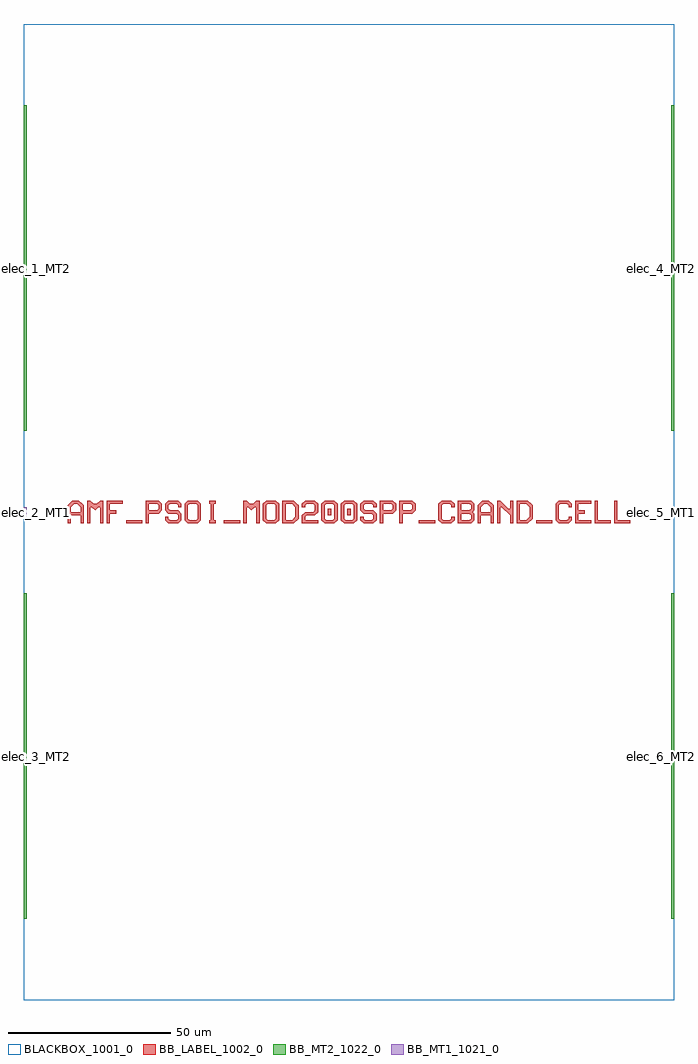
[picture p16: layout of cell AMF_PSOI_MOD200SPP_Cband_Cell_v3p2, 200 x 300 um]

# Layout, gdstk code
import gdstk
lib = gdstk.Library(unit=1e-6, precision=1e-09)
def R(c, l, rs):  # rectangles x0, y0, x1, y1
    for r in rs: c.add(gdstk.rectangle(r[:2], r[2:], *l))
def P(c, l, *ps):  # polygons
    for p in ps: c.add(gdstk.Polygon(p, *l))
BLACKBOX_1001_0 = (1001, 0)
BB_LABEL_1002_0 = (1002, 0)
BB_MT1_1021_0 = (1021, 0)
BB_MT2_1022_0 = (1022, 0)

amf_psoi_mod200spp_cband = lib.new_cell('AMF_PSOI_MOD200SPP_Cband_Cell_v3p2')
R(amf_psoi_mod200spp_cband, BLACKBOX_1001_0, [(0,-150,200,150)])
R(amf_psoi_mod200spp_cband, BB_LABEL_1002_0, [(31.5,-3.5,36.5,-2.5), (61.5,-3.5,66.5,-2.5), (121.5,-3.5,126.5,-2.5), (157.5,-3.5,162.5,-2.5), (93.5,-1,94.5,1), (99.5,-1,100.5,1)])
P(amf_psoi_mod200spp_cband, BB_LABEL_1002_0, [(13.5,-3.5),(13.5,2),(15,3.5),(17,3.5),(18,2.5),(15.5,2.5),(14.5,1.5),(14.5,0),(17.5,0),(17.5,1.5),(16.5,2.5),(18,2.5),(18.5,2),(18.5,-3.5),(17.5,-3.5),(17.5,-1),(14.5,-1),(14.5,-3.5)],
  [(19.5,-3.5),(19.5,3.5),(20.5,3.5),(21.5,2.5),(22.5,2.5),(23.5,3.5),(24.5,3.5),(24.5,-3.5),(23.5,-3.5),(23.5,1.5),(23,1.5),(22,0.5),(21,1.5),(20.5,1.5),(20.5,-3.5)],
  [(25.5,-3.5),(25.5,3.5),(30.5,3.5),(30.5,2.5),(26.5,2.5),(26.5,0.5),(28.5,0.5),(28.5,-0.5),(26.5,-0.5),(26.5,-3.5)],
  [(37.5,-3.5),(37.5,3.5),(41.5,3.5),(42.5,2.5),(42.5,0.5),(41.5,-0.5),(38.5,-0.5),(38.5,0.5),(41,0.5),(41.5,1),(41.5,2),(41,2.5),(38.5,2.5),(38.5,-3.5)],
  [(44.5,-3.5),(43.5,-2.5),(43.5,-1.5),(44.5,-1.5),(44.5,-2),(45,-2.5),(47,-2.5),(47.5,-2),(47.5,-1),(47,-0.5),(44.5,-0.5),(43.5,0.5),(43.5,2.5),(44.5,3.5),(47.5,3.5),(48.5,2.5),(48.5,1.5),(47.5,1.5),(47.5,2),(47,2.5),(45,2.5),(44.5,2),(44.5,1),(45,0.5),(47.5,0.5),(48.5,-0.5),(48.5,-2.5),(47.5,-3.5)],
  [(50.5,-3.5),(49.5,-2.5),(49.5,2.5),(50.5,3.5),(53.5,3.5),(54.5,2.5),(54.5,0),(53.5,0),(53.5,2),(53,2.5),(51,2.5),(50.5,2),(50.5,-2),(51,-2.5),(53,-2.5),(53.5,-2),(53.5,0),(54.5,0),(54.5,-2.5),(53.5,-3.5)],
  [(57,-3.5),(57,-2.5),(57.5,-2.5),(57.5,2.5),(57,2.5),(57,3.5),(59,3.5),(59,2.5),(58.5,2.5),(58.5,-2.5),(59,-2.5),(59,-3.5)],
  [(67.5,-3.5),(67.5,3.5),(68.5,3.5),(69.5,2.5),(70.5,2.5),(71.5,3.5),(72.5,3.5),(72.5,-3.5),(71.5,-3.5),(71.5,1.5),(71,1.5),(70,0.5),(69,1.5),(68.5,1.5),(68.5,-3.5)],
  [(74.5,-3.5),(73.5,-2.5),(73.5,2.5),(74.5,3.5),(77.5,3.5),(78.5,2.5),(78.5,0),(77.5,0),(77.5,2),(77,2.5),(75,2.5),(74.5,2),(74.5,-2),(75,-2.5),(77,-2.5),(77.5,-2),(77.5,0),(78.5,0),(78.5,-2.5),(77.5,-3.5)],
  [(79.5,-3.5),(79.5,3.5),(83,3.5),(84,2.5),(80.5,2.5),(80.5,-2.5),(82.5,-2.5),(83.5,-1.5),(83.5,1.5),(82.5,2.5),(84,2.5),(84.5,2),(84.5,-2),(83,-3.5)],
  [(85.5,-3.5),(85.5,-1),(86.5,0),(89,0),(89.5,0.5),(89.5,2),(89,2.5),(87,2.5),(86.5,2),(86.5,1.5),(85.5,1.5),(85.5,2.5),(86.5,3.5),(89.5,3.5),(90.5,2.5),(90.5,0),(89.5,-1),(87,-1),(86.5,-1.5),(86.5,-2.5),(90.5,-2.5),(90.5,-3.5)],
  [(92.5,-3.5),(91.5,-2.5),(91.5,2.5),(92.5,3.5),(95.5,3.5),(96.5,2.5),(93,2.5),(92.5,2),(92.5,-2),(93,-2.5),(95,-2.5),(95.5,-2),(95.5,2),(95,2.5),(96.5,2.5),(96.5,-2.5),(95.5,-3.5)],
  [(98.5,-3.5),(97.5,-2.5),(97.5,2.5),(98.5,3.5),(101.5,3.5),(102.5,2.5),(99,2.5),(98.5,2),(98.5,-2),(99,-2.5),(101,-2.5),(101.5,-2),(101.5,2),(101,2.5),(102.5,2.5),(102.5,-2.5),(101.5,-3.5)],
  [(104.5,-3.5),(103.5,-2.5),(103.5,-1.5),(104.5,-1.5),(104.5,-2),(105,-2.5),(107,-2.5),(107.5,-2),(107.5,-1),(107,-0.5),(104.5,-0.5),(103.5,0.5),(103.5,2.5),(104.5,3.5),(107.5,3.5),(108.5,2.5),(108.5,1.5),(107.5,1.5),(107.5,2),(107,2.5),(105,2.5),(104.5,2),(104.5,1),(105,0.5),(107.5,0.5),(108.5,-0.5),(108.5,-2.5),(107.5,-3.5)],
  [(109.5,-3.5),(109.5,3.5),(113.5,3.5),(114.5,2.5),(114.5,0.5),(113.5,-0.5),(110.5,-0.5),(110.5,0.5),(113,0.5),(113.5,1),(113.5,2),(113,2.5),(110.5,2.5),(110.5,-3.5)],
  [(115.5,-3.5),(115.5,3.5),(119.5,3.5),(120.5,2.5),(120.5,0.5),(119.5,-0.5),(116.5,-0.5),(116.5,0.5),(119,0.5),(119.5,1),(119.5,2),(119,2.5),(116.5,2.5),(116.5,-3.5)],
  [(128.5,-3.5),(127.5,-2.5),(127.5,2.5),(128.5,3.5),(131.5,3.5),(132.5,2.5),(132.5,1.5),(131.5,1.5),(131.5,2),(131,2.5),(129,2.5),(128.5,2),(128.5,-2),(129,-2.5),(131,-2.5),(131.5,-2),(131.5,-1.5),(132.5,-1.5),(132.5,-2.5),(131.5,-3.5)],
  [(133.5,-3.5),(133.5,3.5),(137.5,3.5),(138.5,2.5),(134.5,2.5),(134.5,0.5),(137,0.5),(137.5,1),(137.5,2),(137,2.5),(138.5,2.5),(138.5,0.5),(138,0),(138.5,-0.5),(134.5,-0.5),(134.5,-2.5),(137,-2.5),(137.5,-2),(137.5,-1),(137,-0.5),(138.5,-0.5),(138.5,-2.5),(137.5,-3.5)],
  [(139.5,-3.5),(139.5,2),(141,3.5),(143,3.5),(144,2.5),(141.5,2.5),(140.5,1.5),(140.5,0),(143.5,0),(143.5,1.5),(142.5,2.5),(144,2.5),(144.5,2),(144.5,-3.5),(143.5,-3.5),(143.5,-1),(140.5,-1),(140.5,-3.5)],
  [(145.5,-3.5),(145.5,3.5),(146.5,3.5),(149,1),(149.5,1),(149.5,3.5),(150.5,3.5),(150.5,-3.5),(149.5,-3.5),(149.5,-1),(147,1.5),(146.5,1.5),(146.5,-3.5)],
  [(151.5,-3.5),(151.5,3.5),(155,3.5),(156,2.5),(152.5,2.5),(152.5,-2.5),(154.5,-2.5),(155.5,-1.5),(155.5,1.5),(154.5,2.5),(156,2.5),(156.5,2),(156.5,-2),(155,-3.5)],
  [(164.5,-3.5),(163.5,-2.5),(163.5,2.5),(164.5,3.5),(167.5,3.5),(168.5,2.5),(168.5,1.5),(167.5,1.5),(167.5,2),(167,2.5),(165,2.5),(164.5,2),(164.5,-2),(165,-2.5),(167,-2.5),(167.5,-2),(167.5,-1.5),(168.5,-1.5),(168.5,-2.5),(167.5,-3.5)],
  [(169.5,-3.5),(169.5,3.5),(174.5,3.5),(174.5,2.5),(170.5,2.5),(170.5,0.5),(172.5,0.5),(172.5,-0.5),(170.5,-0.5),(170.5,-2.5),(174.5,-2.5),(174.5,-3.5)],
  [(175.5,-3.5),(175.5,3.5),(176.5,3.5),(176.5,-2.5),(180.5,-2.5),(180.5,-3.5)],
  [(181.5,-3.5),(181.5,3.5),(182.5,3.5),(182.5,-2.5),(186.5,-2.5),(186.5,-3.5)])
R(amf_psoi_mod200spp_cband, BB_MT1_1021_0, [(0,-1.5,1,1.5), (199,-1.5,200,1.5)])
R(amf_psoi_mod200spp_cband, BB_MT2_1022_0, [(0,-125,1,-25), (199,-125,200,-25), (0,25,1,125), (199,25,200,125)])
amf_psoi_mod200spp_cband.add(gdstk.Label('elec_4_MT2', (200,75), layer=1022, texttype=0))
amf_psoi_mod200spp_cband.add(gdstk.Label('elec_6_MT2', (200,-75), layer=1022, texttype=0))
amf_psoi_mod200spp_cband.add(gdstk.Label('elec_3_MT2', (0,-75), layer=1022, texttype=0))
amf_psoi_mod200spp_cband.add(gdstk.Label('elec_1_MT2', (0,75), layer=1022, texttype=0))
amf_psoi_mod200spp_cband.add(gdstk.Label('elec_5_MT1', (200,0), layer=1021, texttype=0))
amf_psoi_mod200spp_cband.add(gdstk.Label('elec_2_MT1', (0,0), layer=1021, texttype=0))

lib.write_gds('AMF_PSOI_MOD200SPP_Cband_Cell_v3p2.gds')
